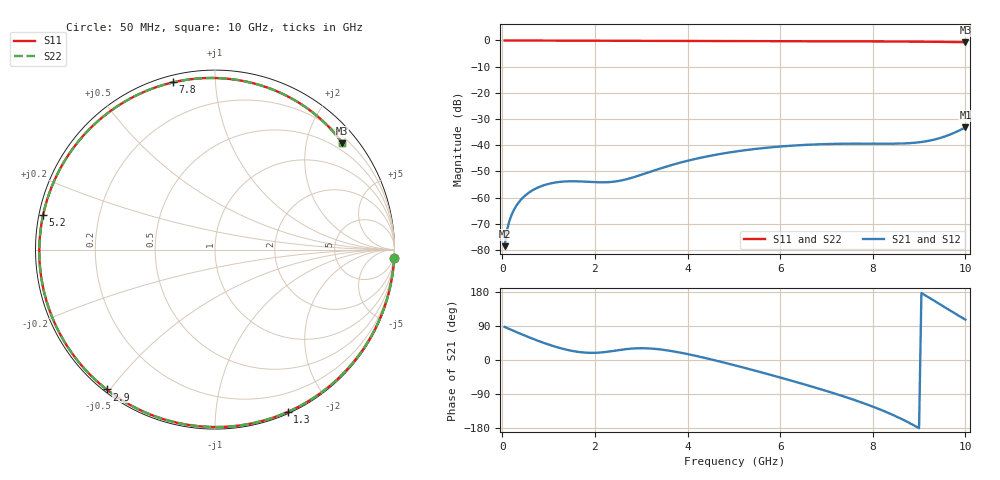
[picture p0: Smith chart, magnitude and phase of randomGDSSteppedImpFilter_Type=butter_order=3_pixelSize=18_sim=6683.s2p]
! freq	dB(S11)	phase(S11)	dB(S12)	phase(S12)
!  dB(S21)	phase(S21)	dB(S22)	phase(S22)
!S-par simulation data
#  GHz  S  DB  R 50
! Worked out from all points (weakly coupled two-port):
!   200 points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, 50 MHz to 10 GHz, reference 50 ohm
!   highest |S21| = -33.23 dB at 10 GHz (marker M1); lowest = -78.6 dB at 50 MHz (marker M2)
!   lowest |S11| = -0.7 dB at 10 GHz (marker M3), VSWR 25.52, Z = 16.7 + j136 ohm
!   |S11| at or under -10 dB: nowhere
!   |S22| runs from -0.7 to 0.0 dB; largest |S21 - S12| = 0
!   S11 on the Smith chart (normalised r, x): 50 MHz: 0, -42; 1.3 GHz: 0.01, -1.54; 2.9 GHz: 0.01, -0.49; 5.2 GHz: 0.01, +0.10; 7.8 GHz: 0.03, +0.78; 10 GHz: 0.33, +2.72
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0.05  -0.00 -2.7  -78.58 87.3  -78.58 87.3  -0.00 -2.7
0.1  -0.01 -5.4  -72.58 84.6  -72.58 84.6  -0.01 -5.4
0.15  -0.01 -8.1  -69.09 81.9  -69.09 81.9  -0.01 -8.1
0.25  -0.02 -13.4  -64.75 76.7  -64.75 76.7  -0.02 -13.4
0.4  -0.03 -21.3  -60.89 68.9  -60.89 68.9  -0.03 -21.3
0.6  -0.04 -31.7  -57.82 58.8  -57.82 58.8  -0.04 -31.7
0.8  -0.05 -41.9  -55.94 49.4  -55.94 49.4  -0.05 -41.9
1.3  -0.08 -65.9  -53.93 29.8  -53.93 29.8  -0.08 -65.9
1.75  -0.10 -85.6  -53.90 19.9  -53.90 19.9  -0.10 -85.6
2.35  -0.11 -108.9  -54.06 23.1  -54.06 23.1  -0.11 -108.9
2.9  -0.13 -127.8  -51.89 30.8  -51.89 30.8  -0.13 -127.8
3.4  -0.14 -143.3  -48.98 28.1  -48.98 28.1  -0.14 -143.3
4.2  -0.16 -165.7  -45.13 10.4  -45.13 10.4  -0.16 -165.7
5.05  -0.20 172.4  -42.39 -14.9  -42.39 -14.9  -0.20 172.5
5.2  -0.20 168.7  -42.02 -19.7  -42.02 -19.7  -0.20 168.7
5.95  -0.24 150.3  -40.59 -44.5  -40.59 -44.5  -0.24 150.3
6.7  -0.28 132.0  -39.76 -70.7  -39.76 -70.7  -0.28 132.0
7.8  -0.35 104.1  -39.42 -114.0  -39.42 -114.0  -0.35 104.1
8.35  -0.39 89.5  -39.44 -140.4  -39.44 -140.4  -0.39 89.4
9.25  -0.50 63.8  -38.18 162.1  -38.18 162.1  -0.50 63.8
9.6  -0.56 53.0  -36.40 135.9  -36.40 135.9  -0.56 53.0
10  -0.68 39.9  -33.23 106.5  -33.23 106.5  -0.68 39.8
